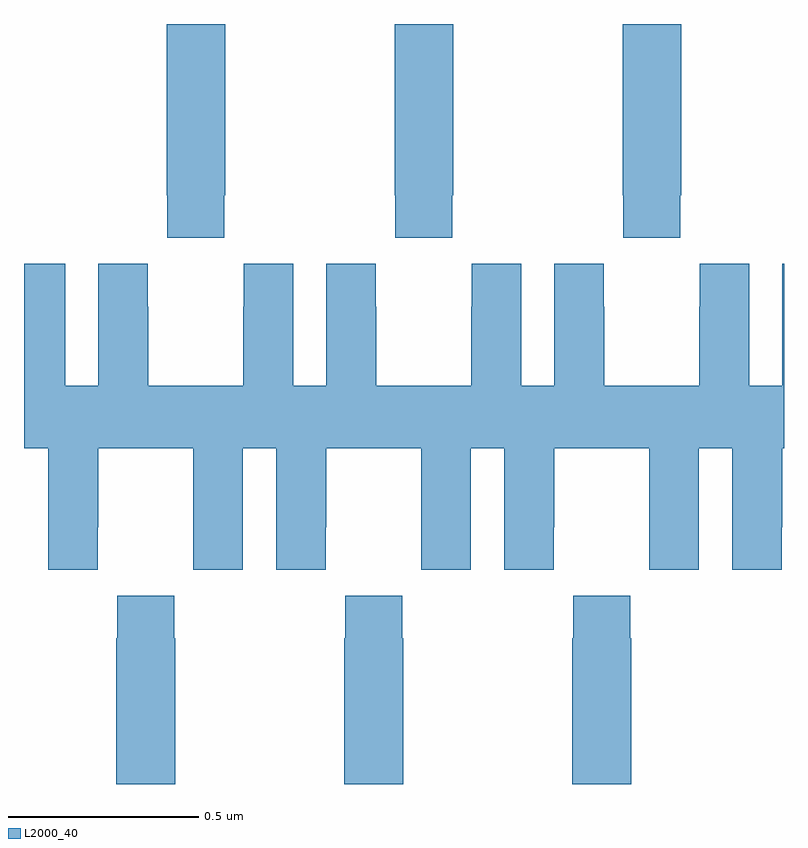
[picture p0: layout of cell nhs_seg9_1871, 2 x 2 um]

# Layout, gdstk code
import gdstk
lib = gdstk.Library(unit=1e-6, precision=1e-09)
def P(c, l, *ps):  # polygons
    for p in ps: c.add(gdstk.Polygon(p, *l))
L2000_40 = (2000, 40)

nhs_seg9_1871 = lib.new_cell('nhs_seg9_1871')
P(nhs_seg9_1871, L2000_40, [(134.127,1233.049),(134.13,1233.049),(134.13,1233.5),(133.975,1233.5),(133.975,1233.049),(133.977,1233.049),(133.977,1232.937),(134.127,1232.937)],
  [(134.727,1233.049),(134.73,1233.049),(134.73,1233.5),(134.575,1233.5),(134.575,1233.049),(134.577,1233.049),(134.577,1232.937),(134.727,1232.937)],
  [(133.527,1233.049),(133.53,1233.049),(133.53,1233.5),(133.375,1233.5),(133.375,1233.049),(133.377,1233.049),(133.377,1232.937),(133.527,1232.937)],
  [(133.927,1232.756),(133.926,1232.756),(133.926,1232.869),(133.796,1232.869),(133.796,1232.548),(133.708,1232.548),(133.708,1232.869),(133.578,1232.869),(133.578,1232.756),(133.577,1232.756),(133.577,1232.548),(133.327,1232.548),(133.327,1232.756),(133.326,1232.756),(133.326,1232.869),(133.196,1232.869),(133.196,1232.548),(133.108,1232.548),(133.108,1232.869),(133,1232.869),(133,1232.384),(133.064,1232.384),(133.064,1232.064),(133.194,1232.064),(133.194,1232.176),(133.195,1232.176),(133.195,1232.384),(133.445,1232.384),(133.445,1232.176),(133.446,1232.176),(133.446,1232.064),(133.576,1232.064),(133.576,1232.384),(133.664,1232.384),(133.664,1232.064),(133.794,1232.064),(133.794,1232.176),(133.795,1232.176),(133.795,1232.384),(134.045,1232.384),(134.045,1232.176),(134.046,1232.176),(134.046,1232.064),(134.176,1232.064),(134.176,1232.384),(134.264,1232.384),(134.264,1232.064),(134.394,1232.064),(134.394,1232.176),(134.395,1232.176),(134.395,1232.384),(134.645,1232.384),(134.645,1232.176),(134.646,1232.176),(134.646,1232.064),(134.776,1232.064),(134.776,1232.384),(134.864,1232.384),(134.864,1232.064),(134.994,1232.064),(134.994,1232.176),(134.995,1232.176),(134.995,1232.384),(135,1232.384),(135,1232.869),(134.996,1232.869),(134.996,1232.548),(134.908,1232.548),(134.908,1232.869),(134.778,1232.869),(134.778,1232.756),(134.777,1232.756),(134.777,1232.548),(134.527,1232.548),(134.527,1232.756),(134.526,1232.756),(134.526,1232.869),(134.396,1232.869),(134.396,1232.548),(134.308,1232.548),(134.308,1232.869),(134.178,1232.869),(134.178,1232.756),(134.177,1232.756),(134.177,1232.548),(133.927,1232.548)],
  [(134.598,1231.883),(134.595,1231.883),(134.595,1231.996),(134.445,1231.996),(134.445,1231.883),(134.443,1231.883),(134.443,1231.5),(134.598,1231.5)],
  [(133.998,1231.883),(133.995,1231.883),(133.995,1231.996),(133.845,1231.996),(133.845,1231.883),(133.843,1231.883),(133.843,1231.5),(133.998,1231.5)],
  [(133.398,1231.883),(133.395,1231.883),(133.395,1231.996),(133.245,1231.996),(133.245,1231.883),(133.243,1231.883),(133.243,1231.5),(133.398,1231.5)])

lib.write_gds('nhs_seg9_1871.gds')
